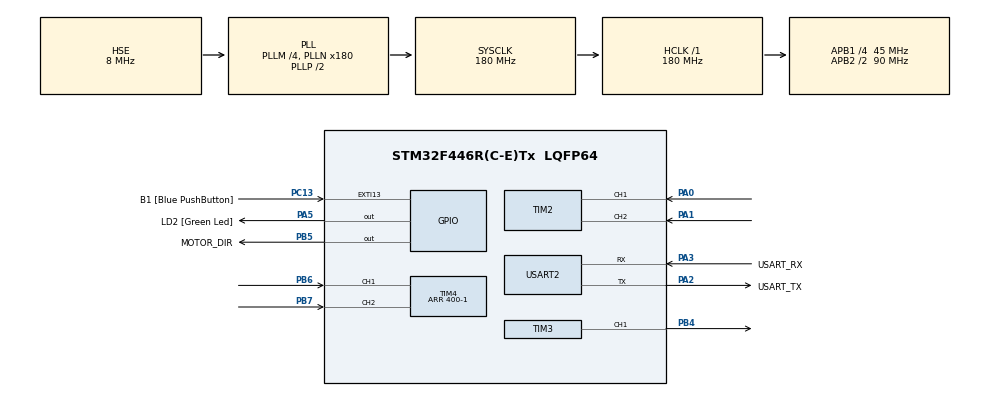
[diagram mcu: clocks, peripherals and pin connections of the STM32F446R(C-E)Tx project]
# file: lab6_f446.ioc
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Mcu.Family=STM32F4
Mcu.Name=STM32F446R(C-E)Tx
Mcu.Package=LQFP64
NVIC.PriorityGroup=NVIC_PRIORITYGROUP_0
PA0-WKUP.Signal=S_TIM2_CH1_ETR
PA1.Signal=S_TIM2_CH2
PA13.GPIO_Label=TMS
PA13.Signal=SYS_JTMS-SWDIO
PA14.GPIO_Label=TCK
PA14.Signal=SYS_JTCK-SWCLK
PA2.GPIO_Label=USART_TX
PA2.Mode=Asynchronous
PA2.Signal=USART2_TX
PA3.GPIO_Label=USART_RX
PA3.Mode=Asynchronous
PA3.Signal=USART2_RX
PA5.GPIO_Label=LD2 [Green Led]
PA5.Signal=GPIO_Output
PB3.GPIO_Label=SWO
PB3.Signal=SYS_JTDO-SWO
PB4.Signal=S_TIM3_CH1
PB5.GPIO_Label=MOTOR_DIR
PB5.Signal=GPIO_Output
PB6.Signal=S_TIM4_CH1
PB7.Signal=S_TIM4_CH2
PC13.GPIO_Label=B1 [Blue PushButton]
PC13.GPIO_ModeDefaultEXTI=GPIO_MODE_IT_FALLING
PC13.Signal=GPXTI13
PC14-OSC32_IN.Mode=LSE-External-Oscillator
PC14-OSC32_IN.Signal=RCC_OSC32_IN
PC15-OSC32_OUT.Mode=LSE-External-Oscillator
PC15-OSC32_OUT.Signal=RCC_OSC32_OUT
PH0-OSC_IN.Mode=HSE-External-Oscillator
PH0-OSC_IN.Signal=RCC_OSC_IN
PH1-OSC_OUT.Mode=HSE-External-Oscillator
PH1-OSC_OUT.Signal=RCC_OSC_OUT
ProjectManager.HeapSize=0x200
ProjectManager.StackSize=0x400
ProjectManager.TargetToolchain=STM32CubeIDE
RCC.AHBFreq_Value=180000000
RCC.APB1CLKDivider=RCC_HCLK_DIV4
RCC.APB1Freq_Value=45000000
RCC.APB1TimFreq_Value=90000000
RCC.APB2CLKDivider=RCC_HCLK_DIV2
RCC.APB2Freq_Value=90000000
RCC.APB2TimFreq_Value=180000000
RCC.CortexFreq_Value=180000000
RCC.FLatency-AdvancedSettings=FLASH_LATENCY_5
RCC.HCLKFreq_Value=180000000
RCC.HSE_VALUE=8000000
RCC.HSI_VALUE=16000000
RCC.PLLM=4
RCC.PLLN=180
RCC.PLLSourceVirtual=RCC_PLLSOURCE_HSE
RCC.SYSCLKFreq_VALUE=180000000
RCC.SYSCLKSource=RCC_SYSCLKSOURCE_PLLCLK
RCC.USBFreq_Value=180000000
RCC.VCOOutputFreq_Value=360000000
SH.S_TIM2_CH1_ETR.0=TIM2_CH1,Encoder_Interface
SH.S_TIM2_CH2.0=TIM2_CH2,Encoder_Interface
SH.S_TIM3_CH1.0=TIM3_CH1,PWM Generation1 CH1
SH.S_TIM4_CH1.0=TIM4_CH1,Encoder_Interface
SH.S_TIM4_CH2.0=TIM4_CH2,Encoder_Interface
TIM2.EncoderMode=TIM_ENCODERMODE_TI12
TIM2.IC1Filter=10
TIM2.IC2Filter=10
TIM3.AutoReloadPreload=TIM_AUTORELOAD_PRELOAD_ENABLE
TIM3.Channel-PWM\ Generation1\ CH1=TIM_CHANNEL_1
TIM3.Period=1000
TIM3.Prescaler=180 - 1
TIM4.AutoReloadPreload=TIM_AUTORELOAD_PRELOAD_ENABLE
TIM4.EncoderMode=TIM_ENCODERMODE_TI12
TIM4.IC1Filter=10
TIM4.IC2Filter=10
TIM4.Period=400-1
USART2.VirtualMode=VM_ASYNC
VP_TIM3_VS_ClockSourceINT.Mode=Internal
board=NUCLEO-F446RE

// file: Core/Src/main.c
/* USER CODE BEGIN Header */
/**
  ******************************************************************************
  * @file           : main.c
  * @brief          : Main program body
  ******************************************************************************
  * @attention
  *
  * Copyright (c) 2024 STMicroelectronics.
  * All rights reserved.
  *
  * This software is licensed under terms that can be found in the LICENSE file
  * in the root directory of this software component.
  * If no LICENSE file comes with this software, it is provided AS-IS.
  *
  ******************************************************************************
  */
/* USER CODE END Header */
#include "main.h"

/* USER CODE BEGIN Includes */
#include "string.h"
#include "inttypes.h"
#include "stdio.h"
/* USER CODE END Includes */

 TIM_HandleTypeDef htim2;
TIM_HandleTypeDef htim3;
TIM_HandleTypeDef htim4;

UART_HandleTypeDef huart2;

void SystemClock_Config(void);
static void MX_GPIO_Init(void);
static void MX_TIM2_Init(void);
static void MX_TIM4_Init(void);
static void MX_USART2_UART_Init(void);
static void MX_TIM3_Init(void);

/* USER CODE BEGIN 0 */
uint32_t rotary_encoder = 0, setpoint;
uint32_t motor_encoder, last_motor_encoder = 0;
uint32_t current_tick = 0, last_tick = 0;
uint32_t delay_step = 5;
int32_t motor_vel;
int32_t duty_cycle;
int32_t error, prev_error = 0;
int32_t integral = 0, derivative = 0;
double Kp = 2.0, Ki = 0.1, Kd = 0.0;
uint8_t msg[100];
/* USER CODE END 0 */

int main(void)
{

  /* MCU Configuration--------------------------------------------------------*/

  /* Reset of all peripherals, Initializes the Flash interface and the Systick. */
  HAL_Init();

  /* Configure the system clock */
  SystemClock_Config();

  /* Initialize all configured peripherals */
  MX_GPIO_Init();
  MX_TIM2_Init();
  MX_TIM4_Init();
  MX_USART2_UART_Init();
  MX_TIM3_Init();
  /* USER CODE BEGIN 2 */
  HAL_TIM_Encoder_Start(&htim4, TIM_CHANNEL_ALL);
  HAL_TIM_Encoder_Start(&htim2, TIM_CHANNEL_ALL);
  HAL_TIM_PWM_Start(&htim3, TIM_CHANNEL_1);
  /* USER CODE END 2 */

  /* Infinite loop */
  /* USER CODE BEGIN WHILE */
  while (1)
  {
      rotary_encoder = __HAL_TIM_GET_COUNTER(&htim4);
      motor_encoder = __HAL_TIM_GET_COUNTER(&htim2);

      setpoint = rotary_encoder*10;

      current_tick = HAL_GetTick();

      if (current_tick - last_tick > delay_step) {
	  last_tick = current_tick;

	  int32_t d_motor_encoder = motor_encoder - last_motor_encoder;
	  last_motor_encoder = motor_encoder;
	  motor_vel = d_motor_encoder*1000/(delay_step); // (tick/s)

	  // Calculate control value
	  error = setpoint - motor_vel;

	  integral += error*delay_step;
	  if (abs(error) < 10) integral = 0;
	  derivative = (error - prev_error)/delay_step;
	  prev_error = error;

	  duty_cycle = (Kp*error) + (Ki*integral) + (Kd*derivative);

	  // ---Output to motor---
	  if (duty_cycle < 0) duty_cycle = 0;
	  if (duty_cycle > 1000) duty_cycle = 1000;

	  __HAL_TIM_SET_COMPARE(&htim3, TIM_CHANNEL_1, duty_cycle);

	  // UART
	  sprintf(msg, "%"PRIu32", %"PRIu32", %"PRIi32", %"PRIi32"\r\n", setpoint, motor_vel, error, duty_cycle);
	  HAL_UART_Transmit(&huart2, msg, strlen(msg), HAL_MAX_DELAY);

      }
    /* USER CODE END WHILE */

  }
}

void SystemClock_Config(void)
{
  RCC_OscInitTypeDef RCC_OscInitStruct = {0};
  RCC_ClkInitTypeDef RCC_ClkInitStruct = {0};

  /** Configure the main internal regulator output voltage
  */
  __HAL_RCC_PWR_CLK_ENABLE();
  __HAL_PWR_VOLTAGESCALING_CONFIG(PWR_REGULATOR_VOLTAGE_SCALE1);

  /** Initializes the RCC Oscillators according to the specified parameters
  * in the RCC_OscInitTypeDef structure.
  */
  RCC_OscInitStruct.OscillatorType = RCC_OSCILLATORTYPE_HSE;
  RCC_OscInitStruct.HSEState = RCC_HSE_ON;
  RCC_OscInitStruct.PLL.PLLState = RCC_PLL_ON;
  RCC_OscInitStruct.PLL.PLLSource = RCC_PLLSOURCE_HSE;
  RCC_OscInitStruct.PLL.PLLM = 4;
  RCC_OscInitStruct.PLL.PLLN = 180;
  RCC_OscInitStruct.PLL.PLLP = RCC_PLLP_DIV2;
  RCC_OscInitStruct.PLL.PLLQ = 2;
  RCC_OscInitStruct.PLL.PLLR = 2;
  if (HAL_RCC_OscConfig(&RCC_OscInitStruct) != HAL_OK)
  {
    Error_Handler();
  }

  /** Activate the Over-Drive mode
  */
  if (HAL_PWREx_EnableOverDrive() != HAL_OK)
  {
    Error_Handler();
  }

  /** Initializes the CPU, AHB and APB buses clocks
  */
  RCC_ClkInitStruct.ClockType = RCC_CLOCKTYPE_HCLK|RCC_CLOCKTYPE_SYSCLK
                              |RCC_CLOCKTYPE_PCLK1|RCC_CLOCKTYPE_PCLK2;
  RCC_ClkInitStruct.SYSCLKSource = RCC_SYSCLKSOURCE_PLLCLK;
  RCC_ClkInitStruct.AHBCLKDivider = RCC_SYSCLK_DIV1;
  RCC_ClkInitStruct.APB1CLKDivider = RCC_HCLK_DIV4;
  RCC_ClkInitStruct.APB2CLKDivider = RCC_HCLK_DIV2;

  if (HAL_RCC_ClockConfig(&RCC_ClkInitStruct, FLASH_LATENCY_5) != HAL_OK)
  {
    Error_Handler();
  }
}

static void MX_TIM2_Init(void)
{

  TIM_Encoder_InitTypeDef sConfig = {0};
  TIM_MasterConfigTypeDef sMasterConfig = {0};

  htim2.Instance = TIM2;
  htim2.Init.Prescaler = 0;
  htim2.Init.CounterMode = TIM_COUNTERMODE_UP;
  htim2.Init.Period = 4294967295;
  htim2.Init.ClockDivision = TIM_CLOCKDIVISION_DIV1;
  htim2.Init.AutoReloadPreload = TIM_AUTORELOAD_PRELOAD_DISABLE;
  sConfig.EncoderMode = TIM_ENCODERMODE_TI12;
  sConfig.IC1Polarity = TIM_ICPOLARITY_RISING;
  sConfig.IC1Selection = TIM_ICSELECTION_DIRECTTI;
  sConfig.IC1Prescaler = TIM_ICPSC_DIV1;
  sConfig.IC1Filter = 10;
  sConfig.IC2Polarity = TIM_ICPOLARITY_RISING;
  sConfig.IC2Selection = TIM_ICSELECTION_DIRECTTI;
  sConfig.IC2Prescaler = TIM_ICPSC_DIV1;
  sConfig.IC2Filter = 10;
  if (HAL_TIM_Encoder_Init(&htim2, &sConfig) != HAL_OK)
  {
    Error_Handler();
  }
  sMasterConfig.MasterOutputTrigger = TIM_TRGO_RESET;
  sMasterConfig.MasterSlaveMode = TIM_MASTERSLAVEMODE_DISABLE;
  if (HAL_TIMEx_MasterConfigSynchronization(&htim2, &sMasterConfig) != HAL_OK)
  {
    Error_Handler();
  }

}

static void MX_TIM3_Init(void)
{

  TIM_ClockConfigTypeDef sClockSourceConfig = {0};
  TIM_MasterConfigTypeDef sMasterConfig = {0};
  TIM_OC_InitTypeDef sConfigOC = {0};

  htim3.Instance = TIM3;
  htim3.Init.Prescaler = 180 - 1;
  htim3.Init.CounterMode = TIM_COUNTERMODE_UP;
  htim3.Init.Period = 1000;
  htim3.Init.ClockDivision = TIM_CLOCKDIVISION_DIV1;
  htim3.Init.AutoReloadPreload = TIM_AUTORELOAD_PRELOAD_ENABLE;
  if (HAL_TIM_Base_Init(&htim3) != HAL_OK)
  {
    Error_Handler();
  }
  sClockSourceConfig.ClockSource = TIM_CLOCKSOURCE_INTERNAL;
  if (HAL_TIM_ConfigClockSource(&htim3, &sClockSourceConfig) != HAL_OK)
  {
    Error_Handler();
  }
  if (HAL_TIM_PWM_Init(&htim3) != HAL_OK)
  {
    Error_Handler();
  }
  sMasterConfig.MasterOutputTrigger = TIM_TRGO_RESET;
  sMasterConfig.MasterSlaveMode = TIM_MASTERSLAVEMODE_DISABLE;
  if (HAL_TIMEx_MasterConfigSynchronization(&htim3, &sMasterConfig) != HAL_OK)
  {
    Error_Handler();
  }
  sConfigOC.OCMode = TIM_OCMODE_PWM1;
  sConfigOC.Pulse = 0;
  sConfigOC.OCPolarity = TIM_OCPOLARITY_HIGH;
  sConfigOC.OCFastMode = TIM_OCFAST_DISABLE;
  if (HAL_TIM_PWM_ConfigChannel(&htim3, &sConfigOC, TIM_CHANNEL_1) != HAL_OK)
  {
    Error_Handler();
  }
  HAL_TIM_MspPostInit(&htim3);

}

static void MX_TIM4_Init(void)
{

  TIM_Encoder_InitTypeDef sConfig = {0};
  TIM_MasterConfigTypeDef sMasterConfig = {0};

  htim4.Instance = TIM4;
  htim4.Init.Prescaler = 0;
  htim4.Init.CounterMode = TIM_COUNTERMODE_UP;
  htim4.Init.Period = 400-1;
  htim4.Init.ClockDivision = TIM_CLOCKDIVISION_DIV1;
  htim4.Init.AutoReloadPreload = TIM_AUTORELOAD_PRELOAD_ENABLE;
  sConfig.EncoderMode = TIM_ENCODERMODE_TI12;
  sConfig.IC1Polarity = TIM_ICPOLARITY_RISING;
  sConfig.IC1Selection = TIM_ICSELECTION_DIRECTTI;
  sConfig.IC1Prescaler = TIM_ICPSC_DIV1;
  sConfig.IC1Filter = 10;
  sConfig.IC2Polarity = TIM_ICPOLARITY_RISING;
  sConfig.IC2Selection = TIM_ICSELECTION_DIRECTTI;
  sConfig.IC2Prescaler = TIM_ICPSC_DIV1;
  sConfig.IC2Filter = 10;
  if (HAL_TIM_Encoder_Init(&htim4, &sConfig) != HAL_OK)
  {
    Error_Handler();
  }
  sMasterConfig.MasterOutputTrigger = TIM_TRGO_RESET;
  sMasterConfig.MasterSlaveMode = TIM_MASTERSLAVEMODE_DISABLE;
  if (HAL_TIMEx_MasterConfigSynchronization(&htim4, &sMasterConfig) != HAL_OK)
  {
    Error_Handler();
  }

}

static void MX_USART2_UART_Init(void)
{

  huart2.Instance = USART2;
  huart2.Init.BaudRate = 115200;
  huart2.Init.WordLength = UART_WORDLENGTH_8B;
  huart2.Init.StopBits = UART_STOPBITS_1;
  huart2.Init.Parity = UART_PARITY_NONE;
  huart2.Init.Mode = UART_MODE_TX_RX;
  huart2.Init.HwFlowCtl = UART_HWCONTROL_NONE;
  huart2.Init.OverSampling = UART_OVERSAMPLING_16;
  if (HAL_UART_Init(&huart2) != HAL_OK)
  {
    Error_Handler();
  }

}

static void MX_GPIO_Init(void)
{
  GPIO_InitTypeDef GPIO_InitStruct = {0};

  /* GPIO Ports Clock Enable */
  __HAL_RCC_GPIOC_CLK_ENABLE();
  __HAL_RCC_GPIOH_CLK_ENABLE();
  __HAL_RCC_GPIOA_CLK_ENABLE();
  __HAL_RCC_GPIOB_CLK_ENABLE();

  /*Configure GPIO pin Output Level */
  HAL_GPIO_WritePin(LD2_GPIO_Port, LD2_Pin, GPIO_PIN_RESET);

  /*Configure GPIO pin Output Level */
  HAL_GPIO_WritePin(MOTOR_DIR_GPIO_Port, MOTOR_DIR_Pin, GPIO_PIN_RESET);

  /*Configure GPIO pin : B1_Pin */
  GPIO_InitStruct.Pin = B1_Pin;
  GPIO_InitStruct.Mode = GPIO_MODE_IT_FALLING;
  GPIO_InitStruct.Pull = GPIO_NOPULL;
  HAL_GPIO_Init(B1_GPIO_Port, &GPIO_InitStruct);

  /*Configure GPIO pin : LD2_Pin */
  GPIO_InitStruct.Pin = LD2_Pin;
  GPIO_InitStruct.Mode = GPIO_MODE_OUTPUT_PP;
  GPIO_InitStruct.Pull = GPIO_NOPULL;
  GPIO_InitStruct.Speed = GPIO_SPEED_FREQ_LOW;
  HAL_GPIO_Init(LD2_GPIO_Port, &GPIO_InitStruct);

  /*Configure GPIO pin : MOTOR_DIR_Pin */
  GPIO_InitStruct.Pin = MOTOR_DIR_Pin;
  GPIO_InitStruct.Mode = GPIO_MODE_OUTPUT_PP;
  GPIO_InitStruct.Pull = GPIO_NOPULL;
  GPIO_InitStruct.Speed = GPIO_SPEED_FREQ_LOW;
  HAL_GPIO_Init(MOTOR_DIR_GPIO_Port, &GPIO_InitStruct);

}

void Error_Handler(void)
{
  __disable_irq();
  while (1)
  {
  }
}
